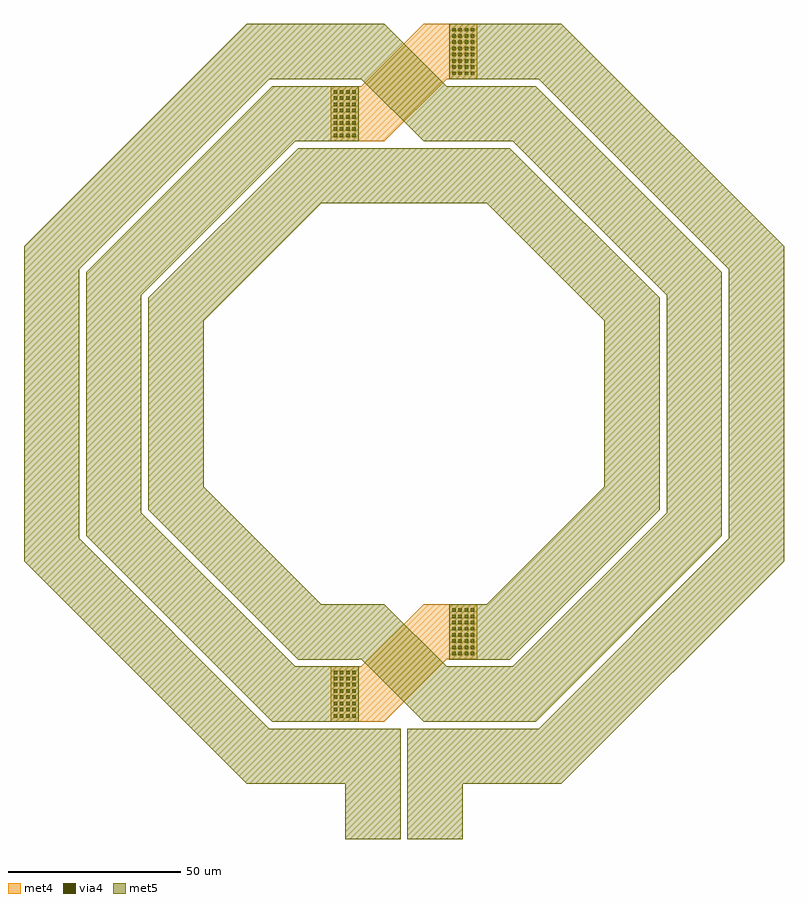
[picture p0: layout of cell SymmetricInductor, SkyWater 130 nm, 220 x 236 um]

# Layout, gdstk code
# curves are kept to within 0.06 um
import gdstk
lib = gdstk.Library(unit=1e-6, precision=1e-09)
def R(c, l, rs):  # rectangles x0, y0, x1, y1
    for r in rs: c.add(gdstk.rectangle(r[:2], r[2:], *l))
def A(c, l, x, y, w, h, nx, ny, dx, dy):  # array of equal rectangles
    R(c, l, [(x+i*dx, y+j*dy, x+i*dx+w, y+j*dy+h) for i in range(nx) for j in range(ny)])
def P(c, l, *ps):  # polygons
    for p in ps: c.add(gdstk.Polygon(p, *l))
met4 = (71, 20)
via4 = (71, 44)
met5 = (72, 20)

symmetricinductor = lib.new_cell('SymmetricInductor')
P(symmetricinductor, met4, [(-21.143,-76),(-21.143,-92.001),(-13.143,-92.001),(-5.687,-92.001),(12.315,-74),(13.143,-74),(21.143,-74),(21.143,-57.999),(13.143,-57.999),(5.687,-57.999),(-12.315,-76),(-13.143,-76)],
  [(-21.143,92),(-21.143,75.999),(-13.143,75.999),(-5.687,75.999),(12.315,94),(13.143,94),(21.143,94),(21.143,110.001),(13.143,110.001),(5.687,110.001),(-12.315,92),(-13.143,92)])
A(symmetricinductor, via4, -20.343, -90.801, 1.002, 1.002, 4, 8, 1.8, 1.8)
A(symmetricinductor, via4, 13.941, -72.801, 1.002, 1.002, 4, 8, 1.8, 1.8)
A(symmetricinductor, via4, -20.343, 77.199, 1.002, 1.002, 4, 8, 1.8, 1.8)
A(symmetricinductor, via4, 13.941, 95.199, 1.002, 1.002, 4, 8, 1.8, 1.8)
P(symmetricinductor, met5, [(-110.001,-45.564),(-45.563,-110.001),(-17.001,-110.001),(-17,-126.001),(-0.999,-126.001),(-0.999,-93.999),(-38.936,-94.001),(-94.001,-38.937),(-94.001,38.937),(-38.936,94.001),(-12.315,94),(5.687,75.999),(31.48,76.001),(76.001,31.481),(76.001,-31.481),(31.48,-76.001),(12.315,-76),(-5.687,-57.999),(-24.024,-58.001),(-58.001,-24.025),(-58.001,24.025),(-24.024,58.001),(24.024,58.001),(58.001,24.025),(58.001,-24.025),(24.024,-58.001),(13.142,-58.001),(13.142,-74.001),(30.652,-74.001),(74.001,-30.652),(74.001,30.652),(30.652,74.001),(-30.652,74.001),(-74.001,30.652),(-74.001,-30.652),(-30.652,-74.001),(-12.315,-74),(5.687,-92.001),(38.108,-92.001),(92.001,-38.108),(92.001,38.108),(38.108,92.001),(12.315,92),(-5.687,110.001),(-45.563,110.001),(-110.001,45.564)],
  [(-92.001,-38.108),(-38.108,-92.001),(-13.142,-92.001),(-13.142,-76.001),(-31.48,-76.001),(-76.001,-31.481),(-76.001,31.481),(-31.48,76.001),(-13.142,76.001),(-13.142,92.001),(-38.108,92.001),(-92.001,38.108)],
  [(0.999,-126.001),(17,-126.001),(17.001,-110.001),(45.563,-110.001),(110.001,-45.564),(110.001,45.564),(45.563,110.001),(13.142,110.001),(13.142,94.001),(38.936,94.001),(94.001,38.937),(94.001,-38.937),(38.936,-94.001),(0.999,-93.999)])

lib.write_gds('SymmetricInductor.gds')
